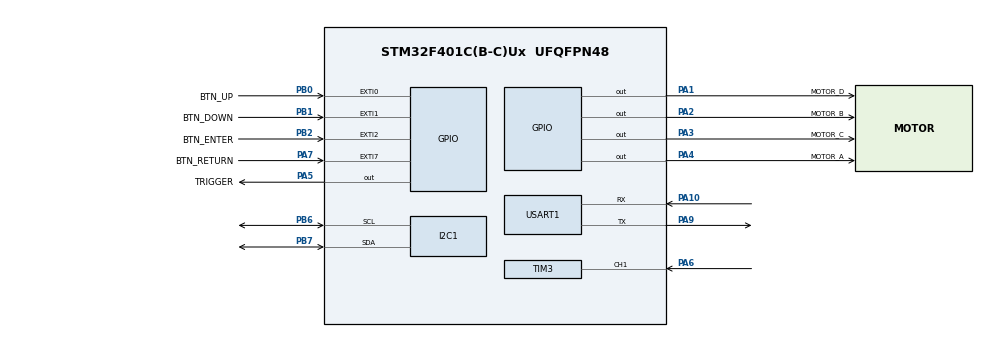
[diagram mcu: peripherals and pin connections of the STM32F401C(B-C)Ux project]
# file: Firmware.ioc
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I2C1.I2C_Mode=I2C_Fast
Mcu.Family=STM32F4
Mcu.Name=STM32F401C(B-C)Ux
Mcu.Package=UFQFPN48
NVIC.EXTI0_IRQn=true\:0\:0\:false\:false\:true\:true\:true\:true
NVIC.EXTI1_IRQn=true\:0\:0\:false\:false\:true\:true\:true\:true
NVIC.EXTI2_IRQn=true\:0\:0\:false\:false\:true\:true\:true\:true
NVIC.EXTI9_5_IRQn=true\:0\:0\:false\:false\:true\:true\:true\:true
NVIC.PriorityGroup=NVIC_PRIORITYGROUP_4
NVIC.TIM2_IRQn=true\:0\:0\:false\:false\:true\:true\:true\:true
NVIC.TIM3_IRQn=true\:0\:0\:false\:false\:true\:true\:true\:true
NVIC.USART1_IRQn=true\:0\:0\:false\:false\:true\:true\:true\:true
PA1.GPIO_Label=MOTOR_D
PA1.Signal=GPIO_Output
PA10.Mode=Asynchronous
PA10.Signal=USART1_RX
PA13.Mode=Serial_Wire
PA13.Signal=SYS_JTMS-SWDIO
PA14.Mode=Serial_Wire
PA14.Signal=SYS_JTCK-SWCLK
PA2.GPIO_Label=MOTOR_B
PA2.Signal=GPIO_Output
PA3.GPIO_Label=MOTOR_C
PA3.Signal=GPIO_Output
PA4.GPIO_Label=MOTOR_A
PA4.Signal=GPIO_Output
PA5.GPIO_Label=TRIGGER
PA5.Signal=GPIO_Output
PA6.Signal=S_TIM3_CH1
PA7.GPIO_Label=BTN_RETURN
PA7.Signal=GPXTI7
PA9.Mode=Asynchronous
PA9.Signal=USART1_TX
PB0.GPIO_Label=BTN_UP
PB0.Signal=GPXTI0
PB1.GPIO_Label=BTN_DOWN
PB1.Signal=GPXTI1
PB2.GPIO_Label=BTN_ENTER
PB2.Signal=GPXTI2
PB6.Mode=I2C
PB6.Signal=I2C1_SCL
PB7.Mode=I2C
PB7.Signal=I2C1_SDA
PC14-OSC32_IN.Mode=LSE-External-Oscillator
PC14-OSC32_IN.Signal=RCC_OSC32_IN
PC15-OSC32_OUT.Mode=LSE-External-Oscillator
PC15-OSC32_OUT.Signal=RCC_OSC32_OUT
PH0\ -\ OSC_IN.Mode=HSE-External-Oscillator
PH0\ -\ OSC_IN.Signal=RCC_OSC_IN
PH1\ -\ OSC_OUT.Mode=HSE-External-Oscillator
PH1\ -\ OSC_OUT.Signal=RCC_OSC_OUT
ProjectManager.HeapSize=0x200
ProjectManager.StackSize=0x400
ProjectManager.TargetToolchain=STM32CubeIDE
RCC.AHBFreq_Value=16000000
RCC.APB1Freq_Value=16000000
RCC.APB2Freq_Value=16000000
RCC.CortexFreq_Value=16000000
RCC.HSE_VALUE=25000000
RCC.HSI_VALUE=16000000
RCC.SYSCLKFreq_VALUE=16000000
RCC.VCOOutputFreq_Value=192000000
SH.S_TIM3_CH1.0=TIM3_CH1,Input_Capture1_from_TI1
TIM2.Period=39999
TIM2.Prescaler=15
TIM3.Channel-Input_Capture1_from_TI1=TIM_CHANNEL_1
TIM3.Prescaler=15
USART1.VirtualMode=VM_ASYNC
VP_TIM2_VS_ClockSourceINT.Mode=Internal
VP_TIM3_VS_ClockSourceINT.Mode=Internal
board=custom

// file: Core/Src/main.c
/* USER CODE BEGIN Header */
/**
  ******************************************************************************
  * @file           : main.c
  * @brief          : Main program body
  ******************************************************************************
  * @attention
  *
  * Copyright (c) 2025 STMicroelectronics.
  * All rights reserved.
  *
  * This software is licensed under terms that can be found in the LICENSE file
  * in the root directory of this software component.
  * If no LICENSE file comes with this software, it is provided AS-IS.
  *
  ******************************************************************************
  */
/* USER CODE END Header */
#include "main.h"

/* USER CODE BEGIN Includes */

/* Perifericos	*/
#include "clock_config.h"
#include "gpio.h"
#include "uart.h"
#include "i2c.h"
#include "delay.h"
#include "button_handler.h"
/* Drivers		*/
#include "motorpap.h"
#include "ssd1306_oled.h"
#include "fonts.h"
#include "hcsr04.h"
/*	Aplicacion	*/
#include "menu.h"
#include "mef.h"

/* USER CODE END Includes */

I2C_HandleTypeDef hi2c1;

TIM_HandleTypeDef htim2;
TIM_HandleTypeDef htim3;

UART_HandleTypeDef huart1;

void SystemClock_Config(void);
static void MX_GPIO_Init(void);
static void MX_I2C1_Init(void);
static void MX_USART1_UART_Init(void);
static void MX_TIM2_Init(void);
static void MX_TIM3_Init(void);

int main(void)
{

  /* MCU Configuration--------------------------------------------------------*/

  /* Reset of all peripherals, Initializes the Flash interface and the Systick. */
  HAL_Init();

  /* Configure the system clock */
  SystemClock_Config();

  /* Initialize all configured peripherals */
  MX_GPIO_Init();
  MX_I2C1_Init();
  MX_USART1_UART_Init();
  MX_TIM2_Init();
  MX_TIM3_Init();
  /* USER CODE BEGIN 2 */

  debounceFSM_Init(BTN_RETURN_GPIO_Port, BTN_RETURN_Pin, BTN_RETURN_ID);
  debounceFSM_Init(BTN_UP_GPIO_Port, BTN_UP_Pin, BTN_UP_ID);
  debounceFSM_Init(BTN_DOWN_GPIO_Port, BTN_DOWN_Pin, BTN_DOWN_ID);
  debounceFSM_Init(BTN_ENTER_GPIO_Port, BTN_ENTER_Pin, BTN_ENTER_ID);

  MEF_Init();

  int8_t button_pressed = BTN_NONE;

  /* USER CODE END 2 */

  /* Infinite loop */
  /* USER CODE BEGIN WHILE */
  while (1)
  {
	  if(Read_Button_Response(BTN_DOWN_ID)){
		  button_pressed = BTN_DOWN_ID;
	  }else if(Read_Button_Response(BTN_UP_ID)){
		  button_pressed = BTN_UP_ID;
	  }else if(Read_Button_Response(BTN_ENTER_ID)){
		  button_pressed = BTN_ENTER_ID;
	  }else if(Read_Button_Response(BTN_RETURN_ID)){
		  button_pressed = BTN_RETURN_ID;
	  }else{
		  button_pressed = BTN_NONE;
	  }

	  MEF_Update(button_pressed);

    /* USER CODE END WHILE */

  }
}

static void MX_I2C1_Init(void)
{

  hi2c1.Instance = I2C1;
  hi2c1.Init.ClockSpeed = 400000;
  hi2c1.Init.DutyCycle = I2C_DUTYCYCLE_2;
  hi2c1.Init.OwnAddress1 = 0;
  hi2c1.Init.AddressingMode = I2C_ADDRESSINGMODE_7BIT;
  hi2c1.Init.DualAddressMode = I2C_DUALADDRESS_DISABLE;
  hi2c1.Init.OwnAddress2 = 0;
  hi2c1.Init.GeneralCallMode = I2C_GENERALCALL_DISABLE;
  hi2c1.Init.NoStretchMode = I2C_NOSTRETCH_DISABLE;
  if (HAL_I2C_Init(&hi2c1) != HAL_OK)
  {
    Error_Handler();
  }

}

static void MX_TIM2_Init(void)
{

  TIM_ClockConfigTypeDef sClockSourceConfig = {0};
  TIM_MasterConfigTypeDef sMasterConfig = {0};

  htim2.Instance = TIM2;
  htim2.Init.Prescaler = 15;
  htim2.Init.CounterMode = TIM_COUNTERMODE_UP;
  htim2.Init.Period = 39999;
  htim2.Init.ClockDivision = TIM_CLOCKDIVISION_DIV1;
  htim2.Init.AutoReloadPreload = TIM_AUTORELOAD_PRELOAD_DISABLE;
  if (HAL_TIM_Base_Init(&htim2) != HAL_OK)
  {
    Error_Handler();
  }
  sClockSourceConfig.ClockSource = TIM_CLOCKSOURCE_INTERNAL;
  if (HAL_TIM_ConfigClockSource(&htim2, &sClockSourceConfig) != HAL_OK)
  {
    Error_Handler();
  }
  sMasterConfig.MasterOutputTrigger = TIM_TRGO_RESET;
  sMasterConfig.MasterSlaveMode = TIM_MASTERSLAVEMODE_DISABLE;
  if (HAL_TIMEx_MasterConfigSynchronization(&htim2, &sMasterConfig) != HAL_OK)
  {
    Error_Handler();
  }

}

static void MX_TIM3_Init(void)
{

  TIM_ClockConfigTypeDef sClockSourceConfig = {0};
  TIM_MasterConfigTypeDef sMasterConfig = {0};
  TIM_IC_InitTypeDef sConfigIC = {0};

  htim3.Instance = TIM3;
  htim3.Init.Prescaler = 15;
  htim3.Init.CounterMode = TIM_COUNTERMODE_UP;
  htim3.Init.Period = 65535;
  htim3.Init.ClockDivision = TIM_CLOCKDIVISION_DIV1;
  htim3.Init.AutoReloadPreload = TIM_AUTORELOAD_PRELOAD_DISABLE;
  if (HAL_TIM_Base_Init(&htim3) != HAL_OK)
  {
    Error_Handler();
  }
  sClockSourceConfig.ClockSource = TIM_CLOCKSOURCE_INTERNAL;
  if (HAL_TIM_ConfigClockSource(&htim3, &sClockSourceConfig) != HAL_OK)
  {
    Error_Handler();
  }
  if (HAL_TIM_IC_Init(&htim3) != HAL_OK)
  {
    Error_Handler();
  }
  sMasterConfig.MasterOutputTrigger = TIM_TRGO_RESET;
  sMasterConfig.MasterSlaveMode = TIM_MASTERSLAVEMODE_DISABLE;
  if (HAL_TIMEx_MasterConfigSynchronization(&htim3, &sMasterConfig) != HAL_OK)
  {
    Error_Handler();
  }
  sConfigIC.ICPolarity = TIM_INPUTCHANNELPOLARITY_RISING;
  sConfigIC.ICSelection = TIM_ICSELECTION_DIRECTTI;
  sConfigIC.ICPrescaler = TIM_ICPSC_DIV1;
  sConfigIC.ICFilter = 0;
  if (HAL_TIM_IC_ConfigChannel(&htim3, &sConfigIC, TIM_CHANNEL_1) != HAL_OK)
  {
    Error_Handler();
  }

}

static void MX_USART1_UART_Init(void)
{

  huart1.Instance = USART1;
  huart1.Init.BaudRate = 115200;
  huart1.Init.WordLength = UART_WORDLENGTH_8B;
  huart1.Init.StopBits = UART_STOPBITS_1;
  huart1.Init.Parity = UART_PARITY_NONE;
  huart1.Init.Mode = UART_MODE_TX_RX;
  huart1.Init.HwFlowCtl = UART_HWCONTROL_NONE;
  huart1.Init.OverSampling = UART_OVERSAMPLING_16;
  if (HAL_UART_Init(&huart1) != HAL_OK)
  {
    Error_Handler();
  }

}

static void MX_GPIO_Init(void)
{
  GPIO_InitTypeDef GPIO_InitStruct = {0};

  /* GPIO Ports Clock Enable */
  __HAL_RCC_GPIOC_CLK_ENABLE();
  __HAL_RCC_GPIOH_CLK_ENABLE();
  __HAL_RCC_GPIOA_CLK_ENABLE();
  __HAL_RCC_GPIOB_CLK_ENABLE();

  /*Configure GPIO pin Output Level */
  HAL_GPIO_WritePin(GPIOA, MOTOR_D_Pin|MOTOR_B_Pin|MOTOR_C_Pin|MOTOR_A_Pin
                          |TRIGGER_Pin, GPIO_PIN_RESET);

  /*Configure GPIO pins : MOTOR_D_Pin MOTOR_B_Pin MOTOR_C_Pin MOTOR_A_Pin
                           TRIGGER_Pin */
  GPIO_InitStruct.Pin = MOTOR_D_Pin|MOTOR_B_Pin|MOTOR_C_Pin|MOTOR_A_Pin
                          |TRIGGER_Pin;
  GPIO_InitStruct.Mode = GPIO_MODE_OUTPUT_PP;
  GPIO_InitStruct.Pull = GPIO_NOPULL;
  GPIO_InitStruct.Speed = GPIO_SPEED_FREQ_LOW;
  HAL_GPIO_Init(GPIOA, &GPIO_InitStruct);

  /*Configure GPIO pin : BTN_RETURN_Pin */
  GPIO_InitStruct.Pin = BTN_RETURN_Pin;
  GPIO_InitStruct.Mode = GPIO_MODE_IT_RISING;
  GPIO_InitStruct.Pull = GPIO_NOPULL;
  HAL_GPIO_Init(BTN_RETURN_GPIO_Port, &GPIO_InitStruct);

  /*Configure GPIO pins : BTN_UP_Pin BTN_DOWN_Pin BTN_ENTER_Pin */
  GPIO_InitStruct.Pin = BTN_UP_Pin|BTN_DOWN_Pin|BTN_ENTER_Pin;
  GPIO_InitStruct.Mode = GPIO_MODE_IT_RISING;
  GPIO_InitStruct.Pull = GPIO_NOPULL;
  HAL_GPIO_Init(GPIOB, &GPIO_InitStruct);

  /* EXTI interrupt init*/
  HAL_NVIC_SetPriority(EXTI0_IRQn, 0, 0);
  HAL_NVIC_EnableIRQ(EXTI0_IRQn);

  HAL_NVIC_SetPriority(EXTI1_IRQn, 0, 0);
  HAL_NVIC_EnableIRQ(EXTI1_IRQn);

  HAL_NVIC_SetPriority(EXTI2_IRQn, 0, 0);
  HAL_NVIC_EnableIRQ(EXTI2_IRQn);

  HAL_NVIC_SetPriority(EXTI9_5_IRQn, 0, 0);
  HAL_NVIC_EnableIRQ(EXTI9_5_IRQn);

}

/* USER CODE BEGIN 4 */

/*	CALLBACK BEGIN	*/
void HAL_GPIO_EXTI_Callback(uint16_t GPIO_Pin)
{
	if(GPIO_Pin == BTN_UP_Pin){
		Pressing_Signal(BTN_UP_ID);
	}
	if(GPIO_Pin == BTN_RETURN_Pin){
		Pressing_Signal(BTN_RETURN_ID);
	}
	if(GPIO_Pin == BTN_ENTER_Pin){
		Pressing_Signal(BTN_ENTER_ID);
	}
	if(GPIO_Pin == BTN_DOWN_Pin){
		Pressing_Signal(BTN_DOWN_ID);
	}
	HAL_TIM_Base_Start_IT(&htim2);
	HAL_NVIC_DisableIRQ(EXTI0_IRQn);
	HAL_NVIC_DisableIRQ(EXTI1_IRQn);
	HAL_NVIC_DisableIRQ(EXTI2_IRQn);
	HAL_NVIC_DisableIRQ(EXTI9_5_IRQn);
}

void HAL_TIM_PeriodElapsedCallback(TIM_HandleTypeDef *htim)
{
	if(htim->Instance == TIM2){
		if(Read_State(BTN_UP_ID) == BUTTON_FALLING && GPIO_ReadPin(BTN_UP_GPIO_Port, BTN_UP_Pin) == GPIO_STATE_LOW){
			Pressed_Signal(BTN_UP_ID);
		}
		if(Read_State(BTN_DOWN_ID) == BUTTON_FALLING && GPIO_ReadPin(BTN_DOWN_GPIO_Port, BTN_DOWN_Pin) == GPIO_STATE_LOW){
			Pressed_Signal(BTN_DOWN_ID);
		}
		if(Read_State(BTN_ENTER_ID) == BUTTON_FALLING && GPIO_ReadPin(BTN_ENTER_GPIO_Port, BTN_ENTER_Pin) == GPIO_STATE_LOW){
			Pressed_Signal(BTN_ENTER_ID);
		}
		if(Read_State(BTN_RETURN_ID) == BUTTON_FALLING && GPIO_ReadPin(BTN_RETURN_GPIO_Port, BTN_RETURN_Pin) == GPIO_STATE_LOW){
			Pressed_Signal(BTN_RETURN_ID);
		}
		HAL_TIM_Base_Stop(&htim2);
		HAL_NVIC_EnableIRQ(EXTI0_IRQn);
		HAL_NVIC_EnableIRQ(EXTI1_IRQn);
		HAL_NVIC_EnableIRQ(EXTI2_IRQn);
		HAL_NVIC_EnableIRQ(EXTI9_5_IRQn);
	}

}
/*	CALLBACK END	*/

/* USER CODE END 4 */
